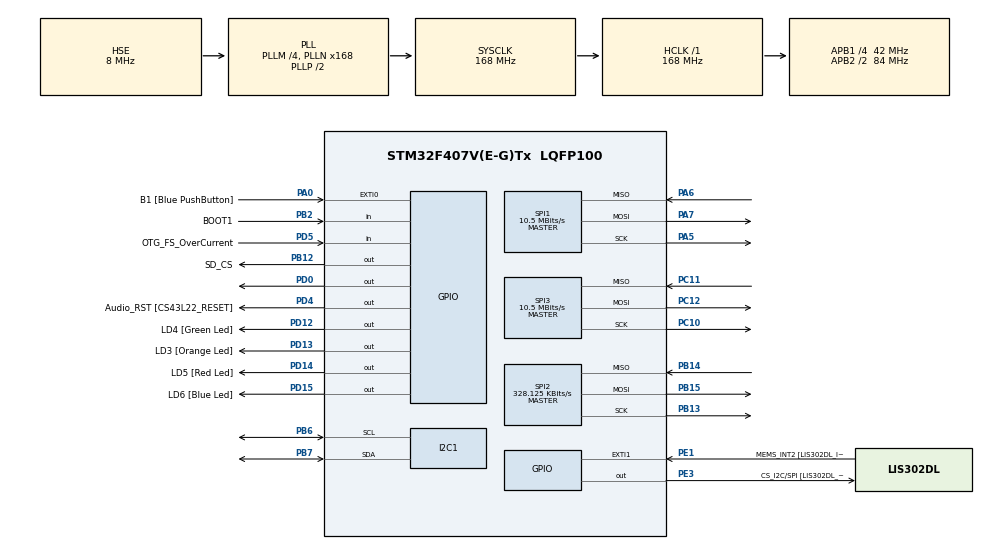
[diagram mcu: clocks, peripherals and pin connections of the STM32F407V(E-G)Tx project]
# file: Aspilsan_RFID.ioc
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Mcu.Family=STM32F4
PD12.GPIO_Label=LD4 [Green Led]
PA6.Mode=Full_Duplex_Master
PH0-OSC_IN.Signal=RCC_OSC_IN
RCC.CortexFreq_Value=168000000
SPI3.Direction=SPI_DIRECTION_2LINES
SPI3.VirtualType=VM_MASTER
RTC.Alarm=RTC_ALARM_A
SPI1.VirtualType=VM_MASTER
SPI2.VirtualType=VM_MASTER
PD15.GPIO_Speed=GPIO_SPEED_FREQ_LOW
PC10.Signal=SPI3_SCK
PC12.Signal=SPI3_MOSI
PA7.GPIO_Mode=GPIO_MODE_AF_PP
VP_RTC_VS_RTC_Activate.Mode=RTC_Enabled
RTC.WeekDay=RTC_WEEKDAY_TUESDAY
PB13.Signal=SPI2_SCK
PB15.Signal=SPI2_MOSI
VP_RTC_VS_RTC_Alarm_A_Intern.Mode=Alarm A
RCC.SYSCLKSource=RCC_SYSCLKSOURCE_PLLCLK
ProjectManager.StackSize=0x400
PA6.GPIO_Mode=GPIO_MODE_AF_PP
PD13.Signal=GPIO_Output
PD14.GPIO_Speed=GPIO_SPEED_FREQ_LOW
SPI1.Direction=SPI_DIRECTION_2LINES
RCC.HCLKFreq_Value=168000000
PD4.Signal=GPIO_Output
RCC.APB2TimFreq_Value=168000000
PB6.Signal=I2C1_SCL
PB6.Mode=I2C
SPI1.CalculateBaudRate=10.5 MBits/s
PD0.Signal=GPIO_Output
PE1.Signal=GPXTI1
RCC.AHBFreq_Value=168000000
SPI2.BaudRatePrescaler=SPI_BAUDRATEPRESCALER_128
PH0-OSC_IN.Mode=HSE-External-Oscillator
PH0-OSC_IN.GPIO_Label=PH0-OSC_IN
RCC.HSE_VALUE=8000000
RTC.Minutes=20
PB2.Signal=GPIO_Input
PB12.GPIO_Label=SD_CS
PA6.GPIO_PuPd=GPIO_NOPULL
RTC.Month=RTC_MONTH_MARCH
PC14-OSC32_IN.Mode=LSE-External-Oscillator
PB14.Mode=Full_Duplex_Master
SPI2.CalculateBaudRate=328.125 KBits/s
PD5.GPIO_Mode=GPIO_MODE_INPUT
PB7.Signal=I2C1_SDA
PD14.GPIO_PuPd=GPIO_NOPULL
PB2.GPIO_PuPd=GPIO_NOPULL
PH1-OSC_OUT.Mode=HSE-External-Oscillator
PD13.GPIO_Label=LD3 [Orange Led]
Mcu.Package=LQFP100
PA6.Signal=SPI1_MISO
SPI2.Mode=SPI_MODE_MASTER
SPI3.Mode=SPI_MODE_MASTER
PD12.Signal=GPIO_Output
PD5.GPIO_Label=OTG_FS_OverCurrent
PD15.GPIO_PuPd=GPIO_NOPULL
VP_RTC_VS_RTC_Calendar.Mode=RTC_Calendar
PC11.Mode=Full_Duplex_Master
RCC.APB2CLKDivider=RCC_HCLK_DIV2
RCC.APB1TimFreq_Value=84000000
SPI2.Direction=SPI_DIRECTION_2LINES
PB13.Mode=Full_Duplex_Master
PA6.GPIO_Speed=GPIO_SPEED_FREQ_LOW
SPI1.BaudRatePrescaler=SPI_BAUDRATEPRESCALER_8
RTC.Seconds_A=1
PD15.Signal=GPIO_Output
PA5.Mode=Full_Duplex_Master
RCC.PLLSourceVirtual=RCC_PLLSOURCE_HSE
PC15-OSC32_OUT.Mode=LSE-External-Oscillator
PD12.GPIO_Speed=GPIO_SPEED_FREQ_LOW
PD15.GPIO_Label=LD6 [Blue Led]
PA7.Mode=Full_Duplex_Master
PC11.Signal=SPI3_MISO
PC10.Mode=Full_Duplex_Master
PE1.GPIO_PuPd=GPIO_NOPULL
PD5.Signal=GPIO_Input
PE1.GPIO_ModeDefaultEXTI=GPIO_MODE_EVT_RISING
RCC.APB1CLKDivider=RCC_HCLK_DIV4
PC14-OSC32_IN.Signal=RCC_OSC32_IN
PA0-WKUP.GPIO_Label=B1 [Blue PushButton]
PA0-WKUP.Signal=GPXTI0
PD4.GPIO_PuPd=GPIO_NOPULL
ProjectManager.TargetToolchain=STM32CubeIDE
PB14.GPIO_Speed=GPIO_SPEED_FREQ_VERY_HIGH
PB13.GPIO_Speed=GPIO_SPEED_FREQ_VERY_HIGH
PC15-OSC32_OUT.Signal=RCC_OSC32_OUT
PA7.GPIO_PuPd=GPIO_NOPULL
VP_FATFS_VS_Generic.Mode=User_defined
PB14.Signal=SPI2_MISO
PA5.Signal=SPI1_SCK
PC12.Mode=Full_Duplex_Master
board=STM32F407G-DISC1
PD13.GPIO_Speed=GPIO_SPEED_FREQ_LOW
RCC.VCOOutputFreq_Value=336000000
PE1.GPIO_Label=MEMS_INT2 [LIS302DL_INT2]
PA7.GPIO_Speed=GPIO_SPEED_FREQ_LOW
PB15.Mode=Full_Duplex_Master
RCC.APB2Freq_Value=84000000
PB2.GPIO_Mode=GPIO_MODE_INPUT
SPI3.CalculateBaudRate=10.5 MBits/s
SPI1.Mode=SPI_MODE_MASTER
PD4.GPIO_Label=Audio_RST [CS43L22_RESET]
PD4.GPIO_Speed=GPIO_SPEED_FREQ_LOW
PB15.GPIO_Speed=GPIO_SPEED_FREQ_VERY_HIGH
SPI3.BaudRatePrescaler=SPI_BAUDRATEPRESCALER_4
PH1-OSC_OUT.Signal=RCC_OSC_OUT
PE3.GPIO_PuPd=GPIO_NOPULL
PD13.GPIO_PuPd=GPIO_NOPULL
PD5.GPIO_PuPd=GPIO_NOPULL
PD14.GPIO_Label=LD5 [Red Led]
PH1-OSC_OUT.GPIO_Label=PH1-OSC_OUT
NVIC.RTC_Alarm_IRQn=true\:0\:0\:false\:false\:true\:true\:true
Mcu.Name=STM32F407V(E-G)Tx
PD14.Signal=GPIO_Output
RCC.48MHZClocksFreq_Value=48000000
RCC.SYSCLKFreq_VALUE=168000000
RTC.Hours=11
PE3.GPIO_Speed=GPIO_SPEED_FREQ_LOW
PB7.Mode=I2C
PB2.GPIO_Label=BOOT1
ProjectManager.HeapSize=0x200
RCC.HSI_VALUE=16000000
RCC.PLLQ=7
NVIC.PriorityGroup=NVIC_PRIORITYGROUP_0
RCC.PLLM=4
RCC.PLLN=168
PE3.Signal=GPIO_Output
PE3.GPIO_Label=CS_I2C/SPI [LIS302DL_CS_I2C/SPI]
RTC.Seconds=25
RCC.APB1Freq_Value=42000000
VP_CRC_VS_CRC.Mode=CRC_Activate
RTC.Date=31
PB12.Signal=GPIO_Output
PD12.GPIO_PuPd=GPIO_NOPULL
PA7.Signal=SPI1_MOSI

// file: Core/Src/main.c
/* USER CODE END Header */
#include "main.h"
#include "fatfs.h"

/* USER CODE BEGIN Includes */
#include "rc522.h"
#include <stdio.h>
#include "string.h"
/* USER CODE END Includes */

CRC_HandleTypeDef hcrc;

I2C_HandleTypeDef hi2c1;

RTC_HandleTypeDef hrtc;

SPI_HandleTypeDef hspi1;
SPI_HandleTypeDef hspi2;
SPI_HandleTypeDef hspi3;

/* USER CODE BEGIN PV */

char card_ID[5];
char my_cardID[5] = {122,75,133,3,183};
char my_cardID1[5] = {217, 7, 196, 90, 64};

/* USER CODE END PV */

void SystemClock_Config(void);
static void MX_GPIO_Init(void);
static void MX_CRC_Init(void);
static void MX_SPI1_Init(void);
static void MX_SPI2_Init(void);
static void MX_SPI3_Init(void);
static void MX_RTC_Init(void);
static void MX_I2C1_Init(void);
/* USER CODE BEGIN PFP */
void RFID_CardCheck();
void Write_SD();
/* USER CODE END PFP */

/* USER CODE BEGIN 0 */
FATFS 		fs;
FRESULT 	res;
FIL			file;
char		buffer[25];
char 		write_buffer[5] ={"STM32"};
UINT		br, bw;
short		i;
char 		big_buffer[1024];
char		*ptr;
char		strCardID[16];
char		*token;
char		PersonelInfo[5][20];

uint8_t start_time = 0;

uint8_t stop_time;

#define DS1307_ADDRESS 0XD0

#define FILE_NUMBER (uint8_t*) 0x20002000

void bufclear (void)  // clear buffer
{
	for (int i=0; i<sizeof(buffer); i++)
	{
		buffer[i] = '\0';
		}
}

// Convert normal decimal numbers to binary coded decimal
uint8_t decToBcd(int val)
{
  return (uint8_t)( (val/10*16) + (val%10) );
}
// Convert binary coded decimal to normal decimal numbers
int bcdToDec(uint8_t val)
{
  return (int)( (val/16*10) + (val%16) );
}

typedef struct {
	uint8_t seconds;
	uint8_t minutes;
	uint8_t hour;
	uint8_t dayofweek;
	uint8_t dayofmonth;
	uint8_t month;
	uint8_t year;
} TIME;

TIME time;

// function to set time

void Set_Time (uint8_t sec, uint8_t min, uint8_t hour, uint8_t dow, uint8_t dom, uint8_t month, uint8_t year)
{
	uint8_t set_time[7];
	set_time[0] = decToBcd(sec);
	set_time[1] = decToBcd(min);
	set_time[2] = decToBcd(hour);
	set_time[3] = decToBcd(dow);
	set_time[4] = decToBcd(dom);
	set_time[5] = decToBcd(month);
	set_time[6] = decToBcd(year);

	HAL_I2C_Mem_Write(&hi2c1, DS1307_ADDRESS, 0x00, 1, set_time, 7, 1000);
}

void Get_Time (void)
{
	uint8_t get_time[7];
	HAL_I2C_Mem_Read(&hi2c1, DS1307_ADDRESS, 0x00, 1, get_time, 7, 1000);
	time.seconds = bcdToDec(get_time[0]);
	time.minutes = bcdToDec(get_time[1]);
	time.hour = bcdToDec(get_time[2]);
	time.dayofweek = bcdToDec(get_time[3]);
	time.dayofmonth = bcdToDec(get_time[4]);
	time.month = bcdToDec(get_time[5]);
	time.year = bcdToDec(get_time[6]);
}

float Get_Temp (void)
{
	uint8_t temp[2];

	HAL_I2C_Mem_Read(&hi2c1, DS1307_ADDRESS, 0x11, 1, temp, 2, 1000);
	return ((temp[0])+(temp[1]>>6)/4.0);
}

void force_temp_conv (void)
{
	uint8_t status=0;
	uint8_t control=0;
	HAL_I2C_Mem_Read(&hi2c1, DS1307_ADDRESS, 0x0F, 1, &status, 1, 100);  // read status register
	if (!(status&0x04))
	{
		HAL_I2C_Mem_Read(&hi2c1, DS1307_ADDRESS, 0x0E, 1, &control, 1, 100);  // read control register
		HAL_I2C_Mem_Write(&hi2c1, DS1307_ADDRESS, 0x0E, 1, (uint8_t *)(control|(0x20)), 1, 100);
	}
}

float TEMP;

char rtc_buffer1[19];
char rtc_buffer2[19];

/* USER CODE END 0 */

int main(void)
{

  /* MCU Configuration--------------------------------------------------------*/

  /* Reset of all peripherals, Initializes the Flash interface and the Systick. */
  HAL_Init();

  /* Configure the system clock */
  SystemClock_Config();

  /* Initialize all configured peripherals */
  MX_GPIO_Init();
  MX_CRC_Init();
  MX_SPI1_Init();
  MX_SPI2_Init();
  MX_SPI3_Init();
  MX_FATFS_Init();
  MX_RTC_Init();
  MX_I2C1_Init();
  /* USER CODE BEGIN 2 */
  MFRC522_Init();

start_time = HAL_GetTick();

uint8_t Button_Pressed_Flag=0;
uint16_t start = 0;
uint16_t stop  = 0;
	while(1){

		if (HAL_GPIO_ReadPin(GPIOA, GPIO_PIN_0)==0)
		{
		start=HAL_GetTick();
		Button_Pressed_Flag=1;
		} else if (HAL_GPIO_ReadPin(GPIOA, GPIO_PIN_0)==1 && Button_Pressed_Flag==1)
		{
		stop=HAL_GetTick();
		if (stop-start>300)
		{
		HAL_GPIO_WritePin(GPIOD, GPIO_PIN_15, SET);
		break;
		}
		}
	}

	res = f_mount(&fs, "", 0);
	if(res != FR_OK)
	{
	while(1);
	}

	Set_Time(45,45,10,2,16,3,22);

	res = f_open(&file,"new.txt", (FA_CREATE_ALWAYS | FA_WRITE));

	if(res == FR_OK)
	{
	Get_Time();
	sprintf (rtc_buffer1, "Time: %02d:%02d:%02d\t", time.hour, time.minutes, time.seconds);

	sprintf (rtc_buffer2, "Date: %02d-%02d-20%02d\n", time.dayofmonth, time.month, time.year);

	for(int i=0; i<5; i++)
		{
		f_write(&file, "write start", 11, &bw);
		res = f_write(&file, "\n", 1, &bw);
		res = f_write(&file, (const void*)rtc_buffer1, sizeof(rtc_buffer1), &bw);
		res = f_write(&file, (const void*)rtc_buffer2, sizeof(rtc_buffer2), &bw);
		res = f_write(&file, "\n", 1, &bw);
		f_sync(&file);

		}
}
f_close(&file);

stop_time = HAL_GetTick()-start_time;

  /* USER CODE END 2 */

  /* Infinite loop */
  while (1)
  {

    /* USER CODE BEGIN 3 */

	  HAL_Delay(200);
	  RFID_CardCheck();
	  HAL_Delay(250);
  }
  /* USER CODE END 3 */
}

void SystemClock_Config(void)
{
  RCC_OscInitTypeDef RCC_OscInitStruct = {0};
  RCC_ClkInitTypeDef RCC_ClkInitStruct = {0};
  RCC_PeriphCLKInitTypeDef PeriphClkInitStruct = {0};

  /** Configure the main internal regulator output voltage
  */
  __HAL_RCC_PWR_CLK_ENABLE();
  __HAL_PWR_VOLTAGESCALING_CONFIG(PWR_REGULATOR_VOLTAGE_SCALE1);
  /** Initializes the RCC Oscillators according to the specified parameters
  * in the RCC_OscInitTypeDef structure.
  */
  RCC_OscInitStruct.OscillatorType = RCC_OSCILLATORTYPE_LSI|RCC_OSCILLATORTYPE_HSE;
  RCC_OscInitStruct.HSEState = RCC_HSE_ON;
  RCC_OscInitStruct.LSIState = RCC_LSI_ON;
  RCC_OscInitStruct.PLL.PLLState = RCC_PLL_ON;
  RCC_OscInitStruct.PLL.PLLSource = RCC_PLLSOURCE_HSE;
  RCC_OscInitStruct.PLL.PLLM = 4;
  RCC_OscInitStruct.PLL.PLLN = 168;
  RCC_OscInitStruct.PLL.PLLP = RCC_PLLP_DIV2;
  RCC_OscInitStruct.PLL.PLLQ = 7;
  if (HAL_RCC_OscConfig(&RCC_OscInitStruct) != HAL_OK)
  {
    Error_Handler();
  }
  /** Initializes the CPU, AHB and APB buses clocks
  */
  RCC_ClkInitStruct.ClockType = RCC_CLOCKTYPE_HCLK|RCC_CLOCKTYPE_SYSCLK
                              |RCC_CLOCKTYPE_PCLK1|RCC_CLOCKTYPE_PCLK2;
  RCC_ClkInitStruct.SYSCLKSource = RCC_SYSCLKSOURCE_PLLCLK;
  RCC_ClkInitStruct.AHBCLKDivider = RCC_SYSCLK_DIV1;
  RCC_ClkInitStruct.APB1CLKDivider = RCC_HCLK_DIV4;
  RCC_ClkInitStruct.APB2CLKDivider = RCC_HCLK_DIV2;

  if (HAL_RCC_ClockConfig(&RCC_ClkInitStruct, FLASH_LATENCY_5) != HAL_OK)
  {
    Error_Handler();
  }
  PeriphClkInitStruct.PeriphClockSelection = RCC_PERIPHCLK_RTC;
  PeriphClkInitStruct.RTCClockSelection = RCC_RTCCLKSOURCE_LSI;
  if (HAL_RCCEx_PeriphCLKConfig(&PeriphClkInitStruct) != HAL_OK)
  {
    Error_Handler();
  }
}

static void MX_CRC_Init(void)
{

  hcrc.Instance = CRC;
  if (HAL_CRC_Init(&hcrc) != HAL_OK)
  {
    Error_Handler();
  }

}

static void MX_I2C1_Init(void)
{

  hi2c1.Instance = I2C1;
  hi2c1.Init.ClockSpeed = 100000;
  hi2c1.Init.DutyCycle = I2C_DUTYCYCLE_2;
  hi2c1.Init.OwnAddress1 = 0;
  hi2c1.Init.AddressingMode = I2C_ADDRESSINGMODE_7BIT;
  hi2c1.Init.DualAddressMode = I2C_DUALADDRESS_DISABLE;
  hi2c1.Init.OwnAddress2 = 0;
  hi2c1.Init.GeneralCallMode = I2C_GENERALCALL_DISABLE;
  hi2c1.Init.NoStretchMode = I2C_NOSTRETCH_DISABLE;
  if (HAL_I2C_Init(&hi2c1) != HAL_OK)
  {
    Error_Handler();
  }

}

static void MX_RTC_Init(void)
{

  RTC_TimeTypeDef sTime = {0};
  RTC_DateTypeDef sDate = {0};
  RTC_AlarmTypeDef sAlarm = {0};

  /** Initialize RTC Only
  */
  hrtc.Instance = RTC;
  hrtc.Init.HourFormat = RTC_HOURFORMAT_24;
  hrtc.Init.AsynchPrediv = 127;
  hrtc.Init.SynchPrediv = 255;
  hrtc.Init.OutPut = RTC_OUTPUT_DISABLE;
  hrtc.Init.OutPutPolarity = RTC_OUTPUT_POLARITY_HIGH;
  hrtc.Init.OutPutType = RTC_OUTPUT_TYPE_OPENDRAIN;
  if (HAL_RTC_Init(&hrtc) != HAL_OK)
  {
    Error_Handler();
  }

  /** Initialize RTC and set the Time and Date
  */
  sTime.Hours = 0x11;
  sTime.Minutes = 0x20;
  sTime.Seconds = 0x25;
  sTime.DayLightSaving = RTC_DAYLIGHTSAVING_NONE;
  sTime.StoreOperation = RTC_STOREOPERATION_RESET;
  if (HAL_RTC_SetTime(&hrtc, &sTime, RTC_FORMAT_BCD) != HAL_OK)
  {
    Error_Handler();
  }
  sDate.WeekDay = RTC_WEEKDAY_TUESDAY;
  sDate.Month = RTC_MONTH_MARCH;
  sDate.Date = 0x31;
  sDate.Year = 0x0;

  if (HAL_RTC_SetDate(&hrtc, &sDate, RTC_FORMAT_BCD) != HAL_OK)
  {
    Error_Handler();
  }
  /** Enable the Alarm A
  */
  sAlarm.AlarmTime.Hours = 0x0;
  sAlarm.AlarmTime.Minutes = 0x0;
  sAlarm.AlarmTime.Seconds = 0x1;
  sAlarm.AlarmTime.SubSeconds = 0x0;
  sAlarm.AlarmTime.DayLightSaving = RTC_DAYLIGHTSAVING_NONE;
  sAlarm.AlarmTime.StoreOperation = RTC_STOREOPERATION_RESET;
  sAlarm.AlarmMask = RTC_ALARMMASK_NONE;
  sAlarm.AlarmSubSecondMask = RTC_ALARMSUBSECONDMASK_ALL;
  sAlarm.AlarmDateWeekDaySel = RTC_ALARMDATEWEEKDAYSEL_DATE;
  sAlarm.AlarmDateWeekDay = 0x1;
  sAlarm.Alarm = RTC_ALARM_A;
  if (HAL_RTC_SetAlarm_IT(&hrtc, &sAlarm, RTC_FORMAT_BCD) != HAL_OK)
  {
    Error_Handler();
  }

}

static void MX_SPI1_Init(void)
{

  /* SPI1 parameter configuration*/
  hspi1.Instance = SPI1;
  hspi1.Init.Mode = SPI_MODE_MASTER;
  hspi1.Init.Direction = SPI_DIRECTION_2LINES;
  hspi1.Init.DataSize = SPI_DATASIZE_8BIT;
  hspi1.Init.CLKPolarity = SPI_POLARITY_LOW;
  hspi1.Init.CLKPhase = SPI_PHASE_1EDGE;
  hspi1.Init.NSS = SPI_NSS_SOFT;
  hspi1.Init.BaudRatePrescaler = SPI_BAUDRATEPRESCALER_8;
  hspi1.Init.FirstBit = SPI_FIRSTBIT_MSB;
  hspi1.Init.TIMode = SPI_TIMODE_DISABLE;
  hspi1.Init.CRCCalculation = SPI_CRCCALCULATION_DISABLE;
  hspi1.Init.CRCPolynomial = 10;
  if (HAL_SPI_Init(&hspi1) != HAL_OK)
  {
    Error_Handler();
  }

}

static void MX_SPI2_Init(void)
{

  /* SPI2 parameter configuration*/
  hspi2.Instance = SPI2;
  hspi2.Init.Mode = SPI_MODE_MASTER;
  hspi2.Init.Direction = SPI_DIRECTION_2LINES;
  hspi2.Init.DataSize = SPI_DATASIZE_8BIT;
  hspi2.Init.CLKPolarity = SPI_POLARITY_LOW;
  hspi2.Init.CLKPhase = SPI_PHASE_1EDGE;
  hspi2.Init.NSS = SPI_NSS_SOFT;
  hspi2.Init.BaudRatePrescaler = SPI_BAUDRATEPRESCALER_128;
  hspi2.Init.FirstBit = SPI_FIRSTBIT_MSB;
  hspi2.Init.TIMode = SPI_TIMODE_DISABLE;
  hspi2.Init.CRCCalculation = SPI_CRCCALCULATION_DISABLE;
  hspi2.Init.CRCPolynomial = 10;
  if (HAL_SPI_Init(&hspi2) != HAL_OK)
  {
    Error_Handler();
  }

}

static void MX_SPI3_Init(void)
{

  /* SPI3 parameter configuration*/
  hspi3.Instance = SPI3;
  hspi3.Init.Mode = SPI_MODE_MASTER;
  hspi3.Init.Direction = SPI_DIRECTION_2LINES;
  hspi3.Init.DataSize = SPI_DATASIZE_8BIT;
  hspi3.Init.CLKPolarity = SPI_POLARITY_LOW;
  hspi3.Init.CLKPhase = SPI_PHASE_1EDGE;
  hspi3.Init.NSS = SPI_NSS_SOFT;
  hspi3.Init.BaudRatePrescaler = SPI_BAUDRATEPRESCALER_4;
  hspi3.Init.FirstBit = SPI_FIRSTBIT_MSB;
  hspi3.Init.TIMode = SPI_TIMODE_DISABLE;
  hspi3.Init.CRCCalculation = SPI_CRCCALCULATION_DISABLE;
  hspi3.Init.CRCPolynomial = 10;
  if (HAL_SPI_Init(&hspi3) != HAL_OK)
  {
    Error_Handler();
  }

}

static void MX_GPIO_Init(void)
{
  GPIO_InitTypeDef GPIO_InitStruct = {0};

  /* GPIO Ports Clock Enable */
  __HAL_RCC_GPIOE_CLK_ENABLE();
  __HAL_RCC_GPIOC_CLK_ENABLE();
  __HAL_RCC_GPIOH_CLK_ENABLE();
  __HAL_RCC_GPIOA_CLK_ENABLE();
  __HAL_RCC_GPIOB_CLK_ENABLE();
  __HAL_RCC_GPIOD_CLK_ENABLE();

  /*Configure GPIO pin Output Level */
  HAL_GPIO_WritePin(CS_I2C_SPI_GPIO_Port, CS_I2C_SPI_Pin, GPIO_PIN_RESET);

  /*Configure GPIO pin Output Level */
  HAL_GPIO_WritePin(SD_CS_GPIO_Port, SD_CS_Pin, GPIO_PIN_RESET);

  /*Configure GPIO pin Output Level */
  HAL_GPIO_WritePin(GPIOD, LD4_Pin|LD3_Pin|LD5_Pin|LD6_Pin
                          |GPIO_PIN_0|Audio_RST_Pin, GPIO_PIN_RESET);

  /*Configure GPIO pin : CS_I2C_SPI_Pin */
  GPIO_InitStruct.Pin = CS_I2C_SPI_Pin;
  GPIO_InitStruct.Mode = GPIO_MODE_OUTPUT_PP;
  GPIO_InitStruct.Pull = GPIO_NOPULL;
  GPIO_InitStruct.Speed = GPIO_SPEED_FREQ_LOW;
  HAL_GPIO_Init(CS_I2C_SPI_GPIO_Port, &GPIO_InitStruct);

  /*Configure GPIO pin : B1_Pin */
  GPIO_InitStruct.Pin = B1_Pin;
  GPIO_InitStruct.Mode = GPIO_MODE_IT_RISING;
  GPIO_InitStruct.Pull = GPIO_NOPULL;
  HAL_GPIO_Init(B1_GPIO_Port, &GPIO_InitStruct);

  /*Configure GPIO pin : BOOT1_Pin */
  GPIO_InitStruct.Pin = BOOT1_Pin;
  GPIO_InitStruct.Mode = GPIO_MODE_INPUT;
  GPIO_InitStruct.Pull = GPIO_NOPULL;
  HAL_GPIO_Init(BOOT1_GPIO_Port, &GPIO_InitStruct);

  /*Configure GPIO pin : SD_CS_Pin */
  GPIO_InitStruct.Pin = SD_CS_Pin;
  GPIO_InitStruct.Mode = GPIO_MODE_OUTPUT_PP;
  GPIO_InitStruct.Pull = GPIO_NOPULL;
  GPIO_InitStruct.Speed = GPIO_SPEED_FREQ_LOW;
  HAL_GPIO_Init(SD_CS_GPIO_Port, &GPIO_InitStruct);

  /*Configure GPIO pins : LD4_Pin LD3_Pin LD5_Pin LD6_Pin
                           PD0 Audio_RST_Pin */
  GPIO_InitStruct.Pin = LD4_Pin|LD3_Pin|LD5_Pin|LD6_Pin
                          |GPIO_PIN_0|Audio_RST_Pin;
  GPIO_InitStruct.Mode = GPIO_MODE_OUTPUT_PP;
  GPIO_InitStruct.Pull = GPIO_NOPULL;
  GPIO_InitStruct.Speed = GPIO_SPEED_FREQ_LOW;
  HAL_GPIO_Init(GPIOD, &GPIO_InitStruct);

  /*Configure GPIO pin : OTG_FS_OverCurrent_Pin */
  GPIO_InitStruct.Pin = OTG_FS_OverCurrent_Pin;
  GPIO_InitStruct.Mode = GPIO_MODE_INPUT;
  GPIO_InitStruct.Pull = GPIO_NOPULL;
  HAL_GPIO_Init(OTG_FS_OverCurrent_GPIO_Port, &GPIO_InitStruct);

  /*Configure GPIO pin : MEMS_INT2_Pin */
  GPIO_InitStruct.Pin = MEMS_INT2_Pin;
  GPIO_InitStruct.Mode = GPIO_MODE_EVT_RISING;
  GPIO_InitStruct.Pull = GPIO_NOPULL;
  HAL_GPIO_Init(MEMS_INT2_GPIO_Port, &GPIO_InitStruct);

}

/* USER CODE BEGIN 4 */
void HAL_RTC_AlarmAEventCallback(RTC_HandleTypeDef *hrtc)
{
	UNUSED(hrtc);
	HAL_GPIO_TogglePin(GPIOD, GPIO_PIN_15);
}

void RFID_CardCheck()
{
	if(MFRC522_Check((uint8_t *)card_ID) == MI_OK)
	{
		HAL_GPIO_WritePin(GPIOD, GPIO_PIN_14, GPIO_PIN_SET);

		if((MFRC522_Compare((uint8_t*)card_ID,(uint8_t*)my_cardID) == MI_OK) ||MFRC522_Compare((uint8_t*)card_ID,(uint8_t*)my_cardID1) == MI_OK)
		{

				HAL_GPIO_WritePin(GPIOD, GPIO_PIN_14, GPIO_PIN_RESET);
				HAL_Delay(100);
				HAL_GPIO_WritePin(GPIOD, GPIO_PIN_13,GPIO_PIN_SET);
				HAL_Delay(250);
				HAL_GPIO_WritePin(GPIOD, GPIO_PIN_13, GPIO_PIN_RESET);
				HAL_Delay(250);

		}
		else
		{

			HAL_GPIO_WritePin(GPIOD, GPIO_PIN_15,GPIO_PIN_SET);
			HAL_Delay(250);
			HAL_GPIO_WritePin(GPIOD, GPIO_PIN_15,GPIO_PIN_RESET);
		}

		/*

		   res = f_open(&file,"valido.txt", (FA_CREATE_ALWAYS | FA_WRITE));
		   if(res == FR_OK)
		  	  {
		 	  	  res = f_write(&file, (const void*)my_cardID, sizeof(my_cardID), &bw);
		 	  	  res = f_write(&file, "\n", 1, &bw);

		 	  	f_sync(&file);
		 		  if(res != FR_OK)
		 		  {
		 			  __NOP();
		 		  }
		 		  else
		 		  {
		 			  __NOP();
		 		  }

		 	   }
		   	  else
		   	  {
		   		  __NOP();
		   	  }

		  	  f_close(&file);
		  	  */

	}
	else
	{
		HAL_GPIO_TogglePin(GPIOD, GPIO_PIN_12);
	}

}
/*
void Write_SD()
{

	//sprintf(strCardID, "%03d%03d%03d%03d%03d",Card_ID[0],Card_ID[1],Card_ID[2],Card_ID[3],Card_ID[4]);

	   res = f_open((FIL*)&file,(const TCHAR*)"valid_access.txt", (BYTE)(FA_CREATE_ALWAYS | FA_WRITE));
	   if(res == FR_OK)
	  	  {
	 	  	  res = f_write(&file, (const void*)card_ID, sizeof(card_ID), &bw);
	 	  	f_sync(&file);
	 		  if(res != FR_OK)
	 		  {
	 			  __NOP();
	 		  }
	 		  else
	 		  {
	 			  __NOP();
	 		  }

	 	   }
	   	  else
	   	  {
	   		  __NOP();
	   	  }

	  	  f_close(&file);
}
*/

/* USER CODE END 4 */

void Error_Handler(void)
{
  __disable_irq();
  while (1)
  {
  }
}

/************************ (C) COPYRIGHT STMicroelectronics *****END OF FILE****/
